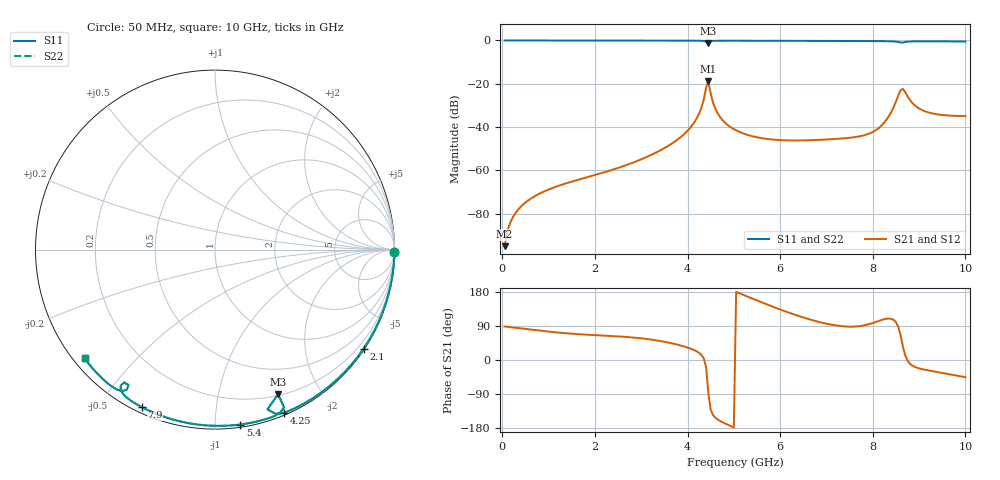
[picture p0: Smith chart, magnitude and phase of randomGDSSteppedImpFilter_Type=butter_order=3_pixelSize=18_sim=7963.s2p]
! freq	dB(S11)	phase(S11)	dB(S12)	phase(S12)
!  dB(S21)	phase(S21)	dB(S22)	phase(S22)
!S-par simulation data
#  GHz  S  DB  R 50
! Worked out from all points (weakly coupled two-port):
!   200 points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, 50 MHz to 10 GHz, reference 50 ohm
!   highest |S21| = -18.78 dB at 4.45 GHz (marker M1); lowest = -95.0 dB at 50 MHz (marker M2)
!   lowest |S11| = -1.1 dB at 4.45 GHz (marker M3), VSWR 15.50, Z = 10.7 - j75.4 ohm
!   |S11| at or under -10 dB: nowhere
!   |S22| runs from -1.1 to 0.0 dB; largest |S21 - S12| = 0
!   S11 on the Smith chart (normalised r, x): 50 MHz: open; 2.1 GHz: 0.03, -3.31; 4.25 GHz: 0.02, -1.51; 5.4 GHz: 0.02, -1.16; 7.9 GHz: 0.02, -0.64; 10 GHz: 0.03, -0.36
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0.05  -0.00 -0.8  -94.96 88.6  -94.96 88.6  -0.00 -0.8
0.25  -0.00 -4.1  -80.83 85.4  -80.83 85.4  -0.00 -4.1
0.9  -0.02 -14.6  -69.72 76.2  -69.72 76.2  -0.02 -14.6
1.75  -0.04 -28.2  -63.61 67.4  -63.61 67.4  -0.04 -28.2
2.1  -0.04 -33.7  -61.49 65.0  -61.49 65.0  -0.04 -33.7
3.4  -0.07 -53.6  -50.89 50.3  -50.89 50.3  -0.07 -53.6
3.95  -0.09 -62.0  -42.74 34.8  -42.74 34.8  -0.09 -62.0
4.25  -0.12 -67.1  -33.74 18.8  -33.74 18.8  -0.12 -67.1
4.45  -1.12 -66.4  -18.78 -87.5  -18.78 -87.5  -1.12 -66.4
4.55  -0.20 -68.1  -28.66 -145.0  -28.66 -145.0  -0.20 -68.1
4.65  -0.14 -70.4  -33.62 -156.9  -33.62 -156.9  -0.14 -70.4
5.05  -0.12 -76.8  -41.47 179.7  -41.47 179.7  -0.12 -76.8
5.4  -0.13 -81.8  -44.23 162.1  -44.23 162.1  -0.13 -81.8
6.7  -0.20 -99.3  -46.01 104.9  -46.01 104.9  -0.20 -99.3
7.9  -0.28 -115.0  -43.18 93.9  -43.18 93.9  -0.28 -115.0
8.15  -0.32 -118.4  -40.04 104.1  -40.04 104.1  -0.32 -118.4
8.35  -0.37 -121.3  -34.85 109.4  -34.85 109.4  -0.37 -121.3
8.6  -0.95 -124.4  -22.95 65.6  -22.95 65.6  -0.95 -124.4
8.65  -0.96 -122.6  -22.37 35.8  -22.37 35.8  -0.96 -122.6
8.85  -0.44 -124.8  -28.75 -14.5  -28.75 -14.5  -0.44 -124.8
9.1  -0.40 -128.6  -32.47 -25.0  -32.47 -25.0  -0.40 -128.6
10  -0.48 -140.1  -34.90 -45.5  -34.90 -45.5  -0.48 -140.1
